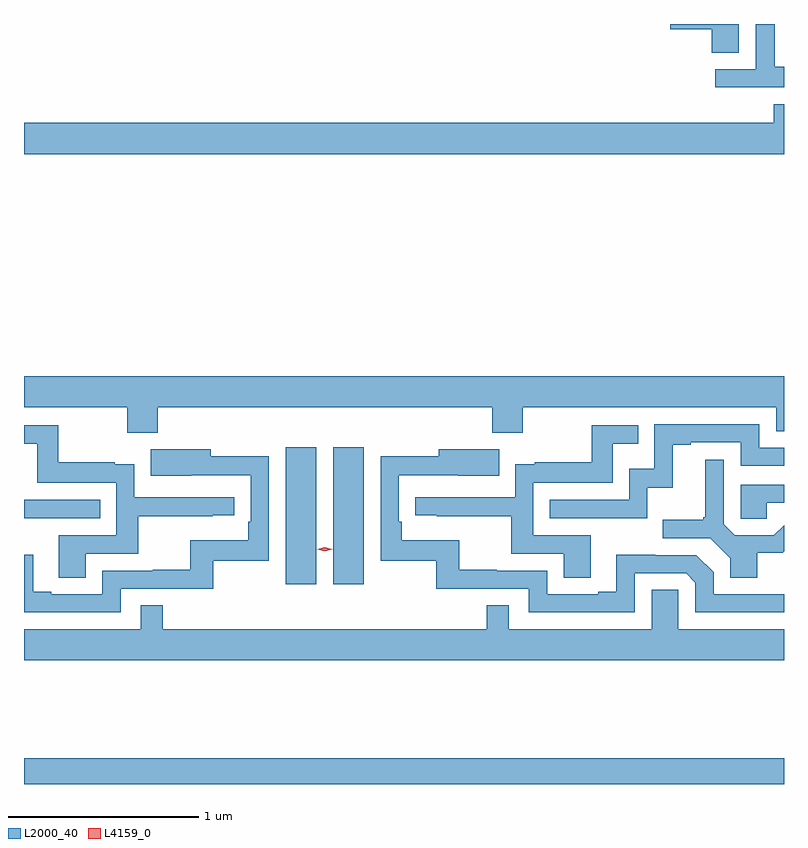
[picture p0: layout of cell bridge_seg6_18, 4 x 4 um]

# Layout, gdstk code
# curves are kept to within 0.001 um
import gdstk
lib = gdstk.Library(unit=1e-6, precision=1e-09)
def R(c, l, rs):  # rectangles x0, y0, x1, y1
    for r in rs: c.add(gdstk.rectangle(r[:2], r[2:], *l))
def P(c, l, *ps):  # polygons
    for p in ps: c.add(gdstk.Polygon(p, *l))
L2000_40 = (2000, 40)
L4159_0 = (4159, 0)

bridge_seg6_18 = lib.new_cell('bridge_seg6_18')
R(bridge_seg6_18, L2000_40, [(968.479,937.361,972.479,937.496), (969.857,938.412,970.018,939.133), (970.106,938.412,970.267,939.133), (968.479,938.76,968.879,938.856)])
P(bridge_seg6_18, L2000_40, [(972.241,941.361),(971.88,941.361),(971.88,941.333),(972.098,941.333),(972.098,941.209),(972.241,941.209)],
  [(972.479,941.137),(972.429,941.137),(972.429,941.36),(972.426,941.36),(972.426,941.361),(972.33,941.361),(972.33,941.124),(972.117,941.124),(972.117,941.028),(972.479,941.028)],
  [(972.479,940.939),(972.425,940.939),(972.425,940.84),(968.479,940.84),(968.479,940.676),(972.479,940.676)],
  [(969.182,939.344),(970.943,939.344),(970.943,939.209),(971.103,939.209),(971.103,939.344),(972.438,939.344),(972.438,939.217),(972.479,939.217),(972.479,939.508),(968.479,939.508),(968.479,939.344),(969.022,939.344),(969.022,939.209),(969.182,939.209)],
  [(971.76,938.921),(971.893,938.921),(971.893,939.147),(971.989,939.147),(971.989,939.159),(972.252,939.159),(972.252,939.036),(972.479,939.036),(972.479,939.132),(972.348,939.132),(972.348,939.255),(971.796,939.255),(971.796,939.019),(971.664,939.019),(971.664,938.856),(971.245,938.856),(971.245,938.76),(971.76,938.76)],
  [(971.461,938.67),(971.16,938.67),(971.16,938.946),(971.577,938.946),(971.577,939.152),(971.711,939.152),(971.711,939.249),(971.466,939.249),(971.466,939.055),(971.167,939.055),(971.167,939.043),(971.064,939.043),(971.064,938.871),(970.539,938.871),(970.539,938.775),(970.651,938.775),(970.651,938.77),(971.044,938.77),(971.044,938.574),(971.321,938.574),(971.321,938.446),(971.461,938.446)],
  [(968.803,938.574),(969.08,938.574),(969.08,938.77),(969.473,938.77),(969.473,938.775),(969.586,938.775),(969.586,938.871),(969.06,938.871),(969.06,939.043),(968.957,939.043),(968.957,939.055),(968.659,939.055),(968.659,939.249),(968.479,939.249),(968.479,939.152),(968.548,939.152),(968.548,938.946),(968.964,938.946),(968.964,938.67),(968.663,938.67),(968.663,938.446),(968.803,938.446)],
  [(971.694,938.469),(971.964,938.469),(972.012,938.421),(972.012,938.265),(972.479,938.265),(972.479,938.361),(972.108,938.361),(972.108,938.475),(972.018,938.565),(971.802,938.565),(971.802,938.567),(971.597,938.567),(971.597,938.374),(971.501,938.374),(971.501,938.361),(971.232,938.361),(971.232,938.484),(970.967,938.484),(970.967,938.489),(970.771,938.489),(970.771,938.644),(970.466,938.644),(970.466,938.74),(970.452,938.74),(970.452,938.985),(970.979,938.984),(970.979,939.124),(970.661,939.124),(970.661,939.086),(970.356,939.086),(970.356,938.535),(970.65,938.535),(970.65,938.388),(971.136,938.388),(971.136,938.265),(971.694,938.265)],
  [(968.988,938.388),(969.475,938.388),(969.475,938.535),(969.768,938.535),(969.768,939.086),(969.463,939.086),(969.463,939.124),(969.145,939.124),(969.145,938.984),(969.359,938.984),(969.359,938.985),(969.672,938.985),(969.672,938.74),(969.659,938.74),(969.659,938.644),(969.354,938.644),(969.354,938.489),(969.157,938.489),(969.157,938.484),(968.892,938.484),(968.892,938.361),(968.623,938.361),(968.623,938.374),(968.527,938.374),(968.527,938.567),(968.479,938.567),(968.479,938.265),(968.988,938.265)],
  [(972.337,938.578),(972.472,938.578),(972.479,938.585),(972.479,938.724),(972.425,938.67),(972.219,938.67),(972.162,938.727),(972.162,939.067),(972.065,939.067),(972.065,938.764),(972.054,938.764),(972.054,938.752),(971.841,938.752),(971.841,938.655),(972.09,938.655),(972.197,938.548),(972.197,938.446),(972.337,938.446)],
  [(972.389,938.841),(972.479,938.841),(972.479,938.937),(972.252,938.937),(972.252,938.757),(972.389,938.757)],
  [(972.479,938.176),(971.922,938.176),(971.922,938.384),(971.783,938.384),(971.783,938.176),(971.031,938.176),(971.031,938.303),(970.915,938.303),(970.915,938.176),(969.209,938.176),(969.209,938.303),(969.093,938.303),(969.093,938.176),(968.479,938.176),(968.479,938.012),(972.479,938.012)])
P(bridge_seg6_18, L4159_0, [(970.062,938.586),(970.022,938.596),(970.022,938.596),(970.022,938.596),(970.062,938.606),(970.102,938.596),(970.102,938.596),(970.102,938.596)])

lib.write_gds('bridge_seg6_18.gds')
